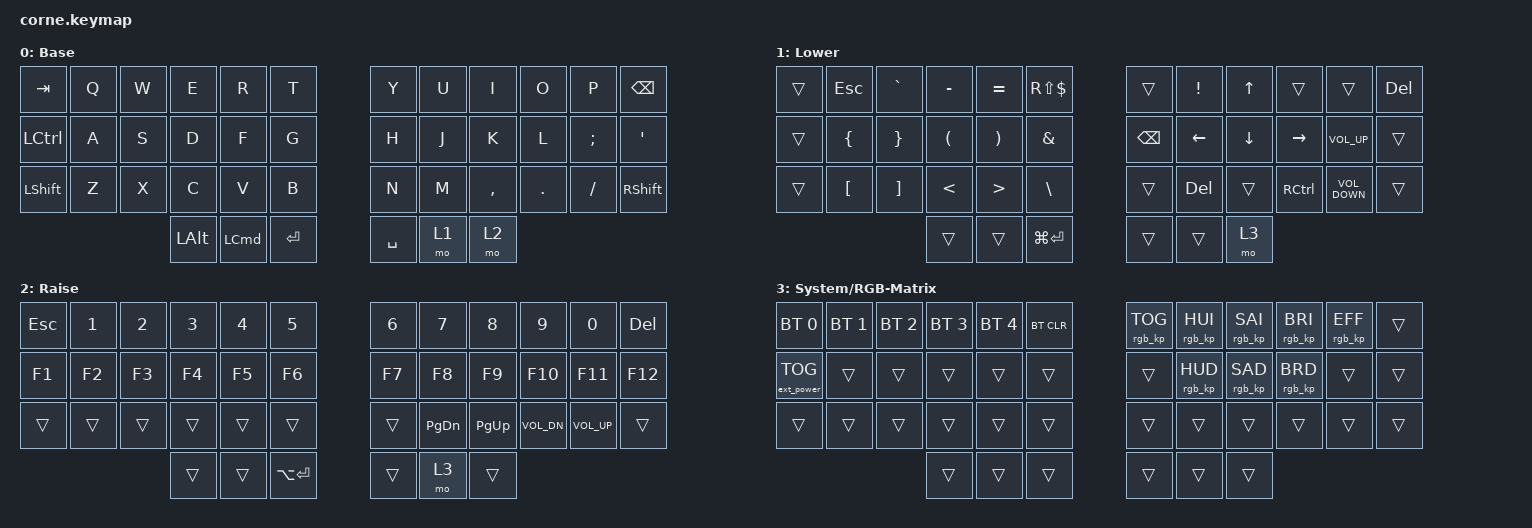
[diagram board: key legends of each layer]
/*
 * Copyright (c) 2020 The ZMK Contributors
 *
 * SPDX-License-Identifier: MIT
 */

#include <behaviors.dtsi>
#include <dt-bindings/zmk/bt.h>
#include <dt-bindings/zmk/ext_power.h>
#include <dt-bindings/zmk/keys.h>
#include <dt-bindings/zmk/rgb.h> // Adicionado para referência de RGB

/ {
    keymap {
        compatible = "zmk,keymap";

        default_layer {
            // -----------------------------------------------------------------------------------------
            // |  TAB |  Q  |  W  |  E  |  R  |  T  |   |  Y  |  U   |  I  |  O  |  P  | BKSP |
            // | CTRL |  A  |  S  |  D  |  F  |  G  |   |  H  |  J   |  K  |  L  |  ;  |  '   |
            // | SHFT |  Z  |  X  |  C  |  V  |  B  |   |  N  |  M   |  ,  |  .  |  /  | ESC  |
            //                     | GUI | LWR | SPC |   | ENT | RSE  | ALT |

            display-name = "Base";
            bindings = <
&kp TAB     &kp Q    &kp W    &kp E       &kp R           &kp T       &kp Y       &kp U    &kp I       &kp O     &kp P       &kp BSPC
&kp LCTRL   &kp A    &kp S    &kp D       &kp F           &kp G       &kp H       &kp J    &kp K       &kp L     &kp SEMI    &kp SQT
&kp LSHFT   &kp Z    &kp X    &kp C       &kp V           &kp B       &kp N       &kp M    &kp COMMA   &kp DOT   &kp FSLH    &kp RIGHT_SHIFT
                                &kp LEFT_ALT &kp LEFT_COMMAND &kp ENTER   &kp SPACE &mo 1     &mo 2
            >;
        };

        lower_layer {
            // -----------------------------------------------------------------------------------------
            // |  TAB |  1  |  2  |  3  |  4  |  5  |   |  6  |  7  |  8  |  9  |  0  | BKSP |
            // | BTCLR| BT1 | BT2 | BT3 | BT4 | BT5 |   | LFT | DWN |  UP | RGT |      |      |
            // | SHFT |     |     |     |     |     |   |     |     |     |     |     |      |
            //                     | GUI |     | SPC |   | ENT |     | ALT |

            display-name = "Lower";
            bindings = <
&trans  &kp ESCAPE        &kp GRAVE         &kp MINUS             &kp EQUAL             &kp RS(DOLLAR)  &trans          &kp EXCL  &kp UP_ARROW    &trans      &trans          &kp DELETE
&trans  &kp LEFT_BRACE    &kp RIGHT_BRACE   &kp LEFT_PARENTHESIS  &kp RIGHT_PARENTHESIS &kp AMPERSAND   &kp BACKSPACE   &kp LEFT  &kp DOWN        &kp RIGHT   &kp C_VOLUME_UP &trans
&trans  &kp LEFT_BRACKET  &kp RIGHT_BRACKET &kp LESS_THAN         &kp GREATER_THAN      &kp BACKSLASH   &trans          &kp DEL   &trans          &kp RCTRL   &kp C_VOLUME_DOWN &trans
                                            &trans                &trans                &kp LG(ENTER)   &trans          &trans    &mo 3
            >;
        };

        raise_layer {
            // -----------------------------------------------------------------------------------------
            // |  TAB |  !  |  @  |  #  |  $  |  %  |   |  ^  |  &  |  * |  (  |  )  | BKSP |
            // | CTRL |     |     |     |     |     |   |  -  |  =  |  [  |  ]  |  \  |  `   |
            // | SHFT |     |     |     |     |     |   |  _  |  +  |  {  |  }  | "|" |  ~   |
            //                     | GUI |     | SPC |   | ENT |     | ALT |

            display-name = "Raise";
            bindings = <
&kp ESCAPE  &kp NUMBER_1  &kp NUMBER_2  &kp NUMBER_3  &kp NUMBER_4  &kp N5          &kp NUMBER_6  &kp N7         &kp N8        &kp N9        &kp N0          &kp DELETE
&kp F1      &kp F2        &kp F3        &kp F4        &kp F5        &kp F6          &kp F7        &kp F8         &kp F9        &kp F10       &kp F11         &kp F12
&trans      &trans        &trans        &trans        &trans        &trans          &trans        &kp PAGE_DOWN  &kp PAGE_UP   &kp C_VOL_DN  &kp C_VOLUME_UP &trans
                                        &trans        &trans        &kp LA(ENTER)   &trans        &mo 3         &trans
            >;
        };

    layer_3 {
            display-name = "System/RGB-Matrix";
            bindings = <
            /* ----- LINHA DE CIMA ----- */
            /* Esquerda: BT */
            &bt BT_SEL 0  &bt BT_SEL 1  &bt BT_SEL 2  &bt BT_SEL 3  &bt BT_SEL 4  &bt BT_CLR
            /* Direita: RGB (Toggle, Hue+, Sat+, Bright+, Effect+) */
                                                                              &rgb_kp RGB_TOG &rgb_kp RGB_HUI &rgb_kp RGB_SAI &rgb_kp RGB_BRI &rgb_kp RGB_EFF &trans

            /* ----- LINHA DO MEIO ----- */
            /* Esquerda: Power Toggle */
            &ext_power EP_TOG &trans        &trans        &trans        &trans  &trans
            /* Direita: RGB (Hue-, Sat-, Bright-) */
                                                                              &trans          &rgb_kp RGB_HUD &rgb_kp RGB_SAD &rgb_kp RGB_BRD &trans          &trans

            /* ----- LINHA DE BAIXO ----- */
            &trans        &trans        &trans        &trans        &trans  &trans
                                                                              &trans          &trans          &trans          &trans          &trans          &trans
            
            /* ----- POLEGARES (THUMBS) ----- */
                                        &trans        &trans        &trans
                                                                              &trans          &trans          &trans
            >;
        };
    };
};
